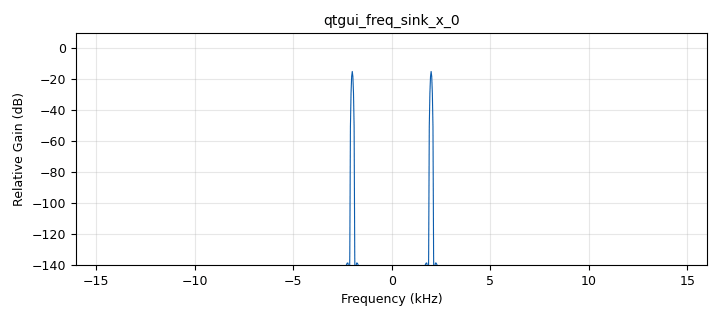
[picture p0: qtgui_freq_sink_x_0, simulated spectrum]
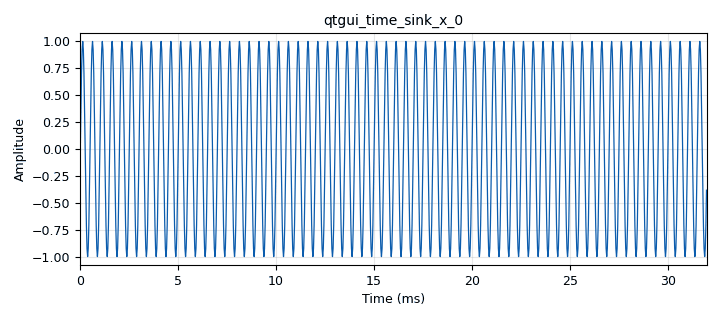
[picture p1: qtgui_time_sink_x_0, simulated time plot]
options:
  parameters:
    author: Michel_Saenz_E1C_G4
    generate_options: qt_gui
    id: Lab_comu_1
    output_language: python
    title: Primer flujograma
  states: {}

blocks:
- name: amplitud
  id: variable_qtgui_range
  parameters:
    start: '0'
    step: '0.1'
    stop: '5'
    value: '1'
  states: {}
- name: freq
  id: variable_qtgui_range
  parameters:
    label: Frequency
    start: '1000'
    step: '1000'
    stop: '40000'
    value: '2000'
  states: {}
- name: frequency
  id: variable
  parameters:
    value: samp_rate/3
  states: {state: disabled}
- name: samp_rate
  id: variable
  parameters:
    value: '32000'
  states: {}
- name: analog_sig_source_x_0
  id: analog_sig_source_x
  parameters:
    amp: amplitud
    freq: freq
    offset: '0'
    phase: '0'
    samp_rate: samp_rate
    type: float
    waveform: analog.GR_SIN_WAVE
  states: {}
- name: blocks_throttle_0
  id: blocks_throttle
  parameters:
    samples_per_second: samp_rate
    type: float
  states: {}
- name: qtgui_freq_sink_x_0
  id: qtgui_freq_sink_x
  parameters:
    bw: samp_rate
    fc: '0'
    fftsize: '1024'
    type: float
  states: {}
- name: qtgui_time_sink_x_0
  id: qtgui_time_sink_x
  parameters:
    size: '1024'
    srate: samp_rate
    type: float
  states: {}

connections:
- [analog_sig_source_x_0, '0', blocks_throttle_0, '0']
- [blocks_throttle_0, '0', qtgui_freq_sink_x_0, '0']
- [blocks_throttle_0, '0', qtgui_time_sink_x_0, '0']

metadata:
  file_format: 1
  grc_version: 3.9.8.0
